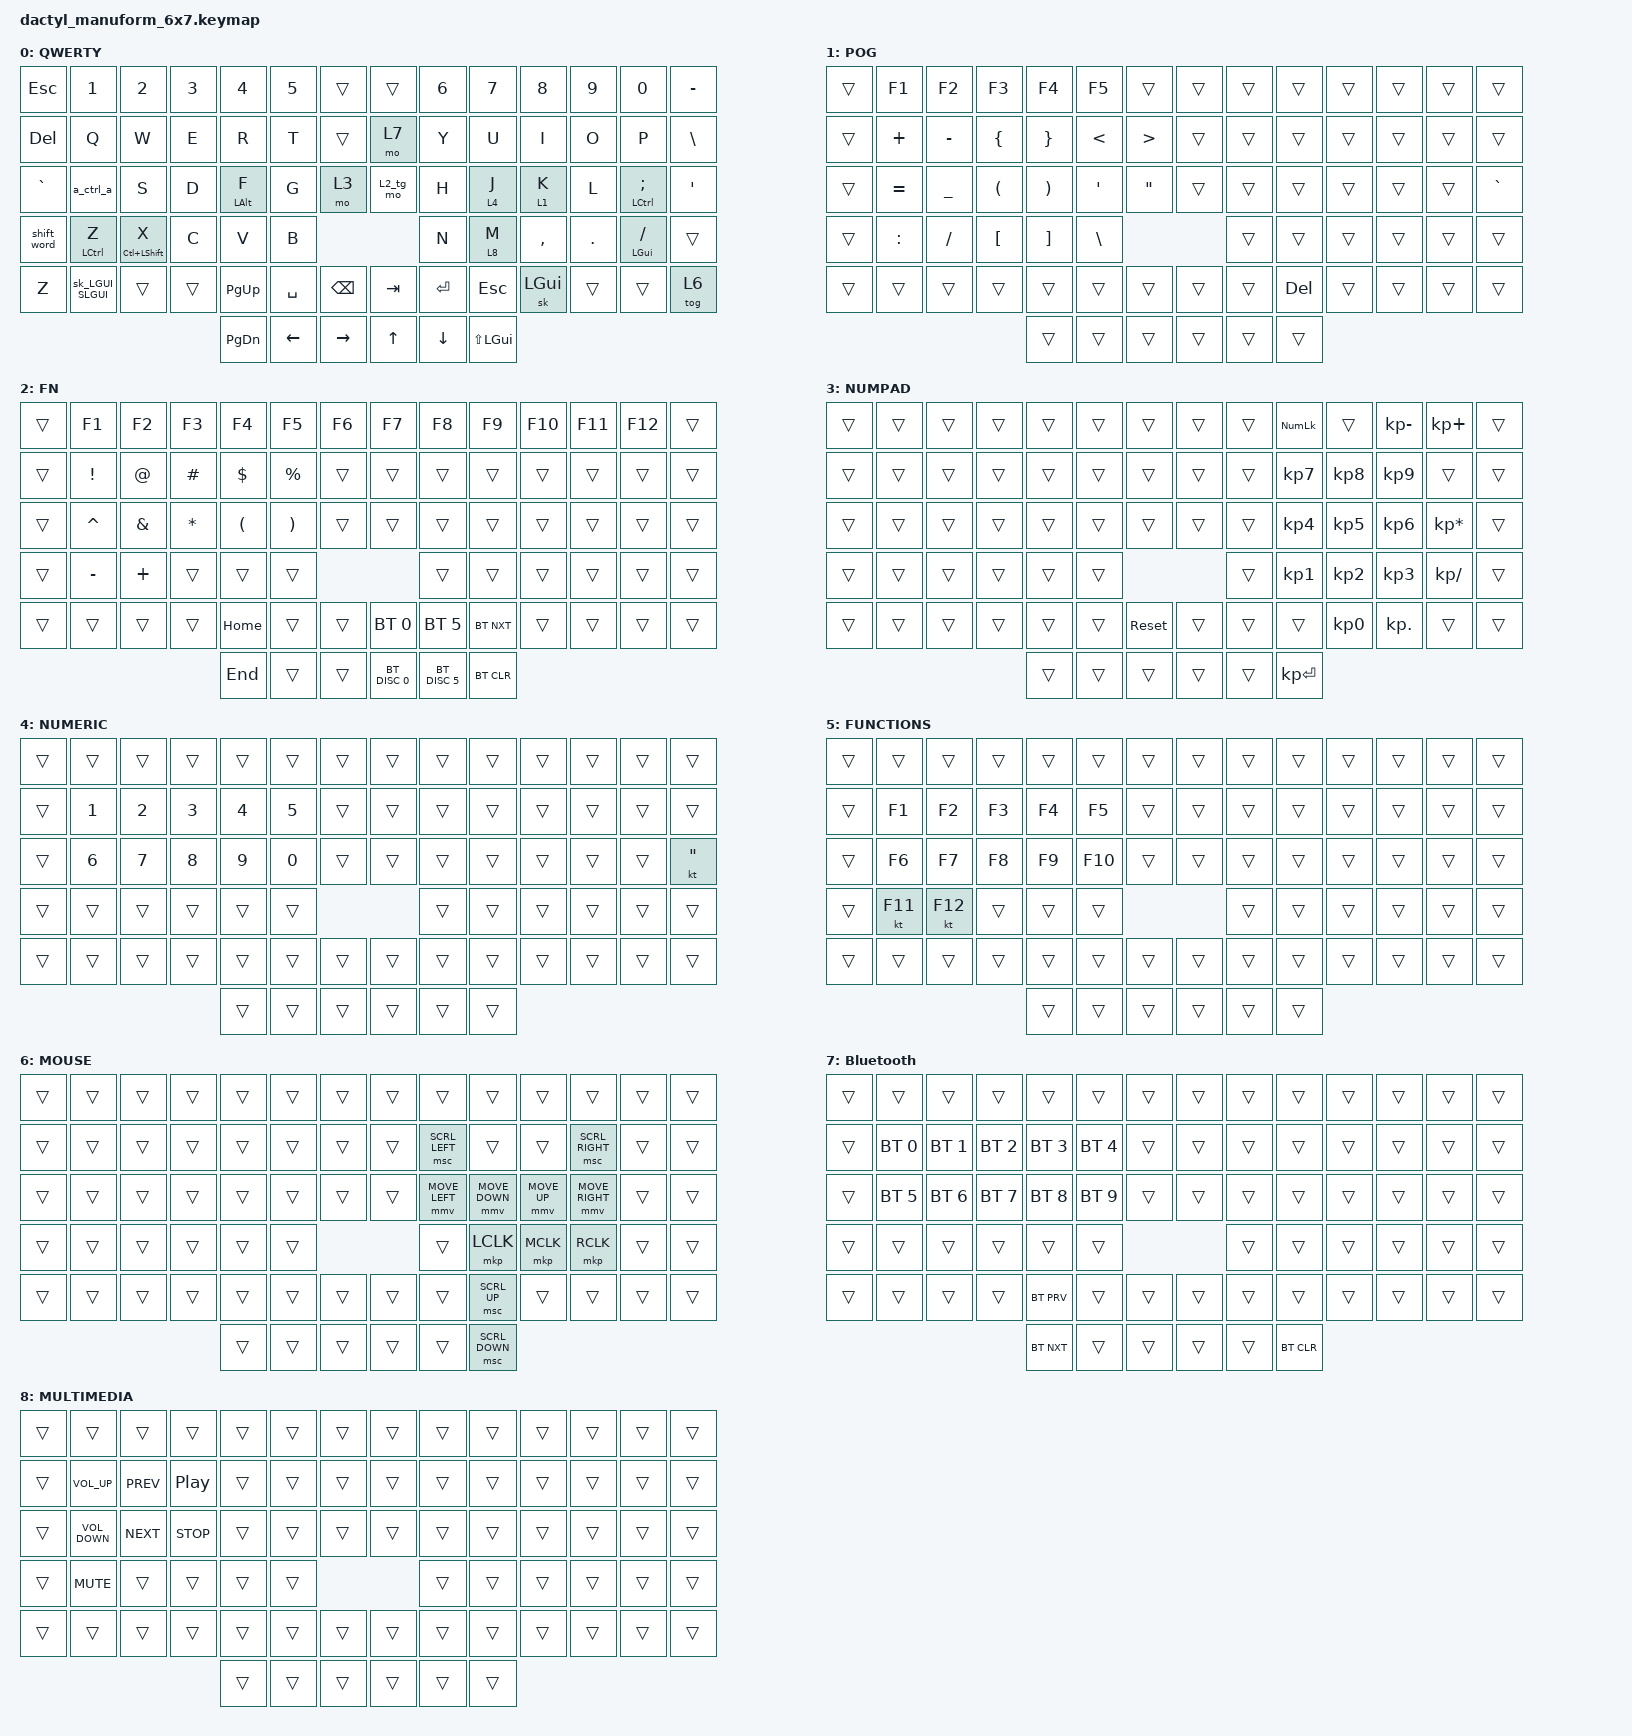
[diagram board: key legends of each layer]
/*
 * Copyright (c) 2020 The ZMK Contributors
 *
 * SPDX-License-Identifier: MIT
 */

#include <behaviors.dtsi>
#include <dt-bindings/zmk/bt.h>
#include <dt-bindings/zmk/keys.h>
#include <dt-bindings/zmk/pointing.h>

#define DEFAULT 0
#define FUNCTION 1

&lt {
    tapping-term-ms = <200>;
    quick-tap-ms = <150>;
};

&mt {
    tapping-term-ms = <200>;
    quick-tap-ms = <150>;
    flavor = "tap-preferred";
};

&sk { quick-release; };

/ {
    behaviors {
        L2_tg_mo: L2_tg_mo {
            compatible = "zmk,behavior-tap-dance";
            label = "L2_TG_MO";
            #binding-cells = <0>;
            bindings = <&mo 2>, <&tog 2>;
        };

        shift_word: shift_word {
            compatible = "zmk,behavior-tap-dance";
            label = "SHIFT_WORD";
            #binding-cells = <0>;
            bindings = <&sk LEFT_SHIFT>, <&caps_word>;
        };

        a_ctrl_a: a_ctrl_a {
            compatible = "zmk,behavior-tap-dance";
            label = "A_CTRL_A";
            #binding-cells = <0>;
            bindings = <&kp A>, <&kp LC(A)>;
        };

        y_ctrl_y: y_ctrl_y {
            compatible = "zmk,behavior-tap-dance";
            label = "Y_CTRL_Y";
            #binding-cells = <0>;
            bindings = <&kp Y>, <&kp LC(Y)>;
        };

        sk_LGUI_SLGUI: sk_LGUI_SLGUI {
            compatible = "zmk,behavior-tap-dance";
            label = "SK_LGUI_SLGUI";
            #binding-cells = <0>;
            bindings = <&sk LGUI>, <&sk LS(LGUI)>;
        };
    };

    combos { compatible = "zmk,combos"; };

    keymap {
        compatible = "zmk,keymap";

        QWERTY {
            bindings = <
&kp ESC      &kp NUMBER_1    &kp NUMBER_2          &kp NUMBER_3  &kp NUMBER_4   &kp N5     &trans         &trans        &kp NUMBER_6    &kp N7        &kp N8     &kp N9   &kp N0          &kp MINUS
&kp DELETE   &kp Q           &kp W                 &kp E         &kp R          &kp T      &trans         &mo 7         &kp Y           &kp U         &kp I      &kp O    &kp P           &kp BACKSLASH
&kp GRAVE    &a_ctrl_a       &kp S                 &kp D         &mt LALT F     &kp G      &mo 3          &L2_tg_mo     &kp H           &lt 4 J       &lt 1 K    &kp L    &mt LCTRL SEMI  &kp APOS
&shift_word  &mt LCTRL Z     &mt LC(LEFT_SHIFT) X  &kp C         &kp V          &kp B                                   &kp N           &lt 8 M       &kp COMMA  &kp DOT  &mt LGUI SLASH  &trans
&kp Z        &sk_LGUI_SLGUI  &trans                &trans        &kp PAGE_UP    &kp SPACE  &kp BACKSPACE  &kp TAB       &kp ENTER       &kp ESCAPE    &sk LGUI   &trans   &trans          &tog 6
                                                                 &kp PAGE_DOWN  &kp LEFT   &kp RIGHT      &kp UP_ARROW  &kp DOWN_ARROW  &kp LS(LGUI)
            >;
        };

        POG {
            bindings = <
&trans  &kp F1     &kp F2     &kp F3                &kp F4                 &kp F5         &trans             &trans  &trans  &trans      &trans  &trans  &trans  &trans
&trans  &kp PLUS   &kp MINUS  &kp LEFT_BRACE        &kp RIGHT_BRACE        &kp LESS_THAN  &kp GREATER_THAN   &trans  &trans  &trans      &trans  &trans  &trans  &trans
&trans  &kp EQUAL  &kp UNDER  &kp LEFT_PARENTHESIS  &kp RIGHT_PARENTHESIS  &kp SQT        &kp DOUBLE_QUOTES  &trans  &trans  &trans      &trans  &trans  &trans  &kp GRAVE
&trans  &kp COLON  &kp SLASH  &kp LEFT_BRACKET      &kp RIGHT_BRACKET      &kp BACKSLASH                             &trans  &trans      &trans  &trans  &trans  &trans
&trans  &trans     &trans     &trans                &trans                 &trans         &trans             &trans  &trans  &kp DELETE  &trans  &trans  &trans  &trans
                                                    &trans                 &trans         &trans             &trans  &trans  &trans
            >;
        };

        FN {
            bindings = <
&trans  &kp F1           &kp F2         &kp F3        &kp F4                &kp F5                 &kp F6  &kp F7         &kp F8         &kp F9      &kp F10  &kp F11  &kp F12  &trans
&trans  &kp EXCLAMATION  &kp AT_SIGN    &kp POUND     &kp DOLLAR            &kp PERCENT            &trans  &trans         &trans         &trans      &trans   &trans   &trans   &trans
&trans  &kp CARET        &kp AMPERSAND  &kp ASTERISK  &kp LEFT_PARENTHESIS  &kp RIGHT_PARENTHESIS  &trans  &trans         &trans         &trans      &trans   &trans   &trans   &trans
&trans  &kp MINUS        &kp PLUS       &trans        &trans                &trans                                        &trans         &trans      &trans   &trans   &trans   &trans
&trans  &trans           &trans         &trans        &kp HOME              &trans                 &trans  &bt BT_SEL 0   &bt BT_SEL 5   &bt BT_NXT  &trans   &trans   &trans   &trans
                                                      &kp END               &trans                 &trans  &bt BT_DISC 0  &bt BT_DISC 5  &bt BT_CLR
            >;
        };

        NUMPAD {
            bindings = <
&trans  &trans  &trans  &trans  &trans  &trans  &trans      &trans  &trans  &kp KP_NUMLOCK   &trans           &kp KP_MINUS     &kp KP_PLUS      &trans
&trans  &trans  &trans  &trans  &trans  &trans  &trans      &trans  &trans  &kp KP_NUMBER_7  &kp KP_NUMBER_8  &kp KP_NUMBER_9  &trans           &trans
&trans  &trans  &trans  &trans  &trans  &trans  &trans      &trans  &trans  &kp KP_NUMBER_4  &kp KP_NUMBER_5  &kp KP_NUMBER_6  &kp KP_ASTERISK  &trans
&trans  &trans  &trans  &trans  &trans  &trans                      &trans  &kp KP_NUMBER_1  &kp KP_NUMBER_2  &kp KP_NUMBER_3  &kp KP_SLASH     &trans
&trans  &trans  &trans  &trans  &trans  &trans  &sys_reset  &trans  &trans  &trans           &kp KP_NUMBER_0  &kp KP_DOT       &trans           &trans
                                &trans  &trans  &trans      &trans  &trans  &kp KP_ENTER
            >;
        };

        NUMERIC {
            bindings = <
&trans  &trans        &trans        &trans        &trans        &trans        &trans  &trans  &trans  &trans  &trans  &trans  &trans  &trans
&trans  &kp NUMBER_1  &kp NUMBER_2  &kp NUMBER_3  &kp NUMBER_4  &kp NUMBER_5  &trans  &trans  &trans  &trans  &trans  &trans  &trans  &trans
&trans  &kp NUMBER_6  &kp NUMBER_7  &kp NUMBER_8  &kp NUMBER_9  &kp NUMBER_0  &trans  &trans  &trans  &trans  &trans  &trans  &trans  &kt DOUBLE_QUOTES
&trans  &trans        &trans        &trans        &trans        &trans                        &trans  &trans  &trans  &trans  &trans  &trans
&trans  &trans        &trans        &trans        &trans        &trans        &trans  &trans  &trans  &trans  &trans  &trans  &trans  &trans
                                                  &trans        &trans        &trans  &trans  &trans  &trans
            >;
        };

        FUNCTIONS {
            bindings = <
&trans  &trans   &trans   &trans  &trans  &trans   &trans  &trans  &trans  &trans  &trans  &trans  &trans  &trans
&trans  &kp F1   &kp F2   &kp F3  &kp F4  &kp F5   &trans  &trans  &trans  &trans  &trans  &trans  &trans  &trans
&trans  &kp F6   &kp F7   &kp F8  &kp F9  &kp F10  &trans  &trans  &trans  &trans  &trans  &trans  &trans  &trans
&trans  &kt F11  &kt F12  &trans  &trans  &trans                   &trans  &trans  &trans  &trans  &trans  &trans
&trans  &trans   &trans   &trans  &trans  &trans   &trans  &trans  &trans  &trans  &trans  &trans  &trans  &trans
                                  &trans  &trans   &trans  &trans  &trans  &trans
            >;
        };

        MOUSE {
            bindings = <
&trans  &trans  &trans  &trans  &trans  &trans  &trans  &trans  &trans          &trans          &trans        &trans           &trans  &trans
&trans  &trans  &trans  &trans  &trans  &trans  &trans  &trans  &msc SCRL_LEFT  &trans          &trans        &msc SCRL_RIGHT  &trans  &trans
&trans  &trans  &trans  &trans  &trans  &trans  &trans  &trans  &mmv MOVE_LEFT  &mmv MOVE_DOWN  &mmv MOVE_UP  &mmv MOVE_RIGHT  &trans  &trans
&trans  &trans  &trans  &trans  &trans  &trans                  &trans          &mkp LCLK       &mkp MCLK     &mkp RCLK        &trans  &trans
&trans  &trans  &trans  &trans  &trans  &trans  &trans  &trans  &trans          &msc SCRL_UP    &trans        &trans           &trans  &trans
                                &trans  &trans  &trans  &trans  &trans          &msc SCRL_DOWN
            >;
        };

        Bluetooth {
            bindings = <
&trans  &trans        &trans        &trans        &trans        &trans        &trans  &trans  &trans  &trans      &trans  &trans  &trans  &trans
&trans  &bt BT_SEL 0  &bt BT_SEL 1  &bt BT_SEL 2  &bt BT_SEL 3  &bt BT_SEL 4  &trans  &trans  &trans  &trans      &trans  &trans  &trans  &trans
&trans  &bt BT_SEL 5  &bt BT_SEL 6  &bt BT_SEL 7  &bt BT_SEL 8  &bt BT_SEL 9  &trans  &trans  &trans  &trans      &trans  &trans  &trans  &trans
&trans  &trans        &trans        &trans        &trans        &trans                        &trans  &trans      &trans  &trans  &trans  &trans
&trans  &trans        &trans        &trans        &bt BT_PRV    &trans        &trans  &trans  &trans  &trans      &trans  &trans  &trans  &trans
                                                  &bt BT_NXT    &trans        &trans  &trans  &trans  &bt BT_CLR
            >;
        };

        MULTIMEDIA {
            bindings = <
&trans  &trans             &trans      &trans            &trans  &trans  &trans  &trans  &trans  &trans  &trans  &trans  &trans  &trans
&trans  &kp C_VOLUME_UP    &kp C_PREV  &kp C_PLAY_PAUSE  &trans  &trans  &trans  &trans  &trans  &trans  &trans  &trans  &trans  &trans
&trans  &kp C_VOLUME_DOWN  &kp C_NEXT  &kp C_STOP        &trans  &trans  &trans  &trans  &trans  &trans  &trans  &trans  &trans  &trans
&trans  &kp K_MUTE         &trans      &trans            &trans  &trans                  &trans  &trans  &trans  &trans  &trans  &trans
&trans  &trans             &trans      &trans            &trans  &trans  &trans  &trans  &trans  &trans  &trans  &trans  &trans  &trans
                                                         &trans  &trans  &trans  &trans  &trans  &trans
            >;
        };
    };

    conditional_layers {
        compatible = "zmk,conditional-layers";

        FUN_ENABLER {
            if-layers = <1 4>;
            then-layer = <5>;
        };
    };
};
